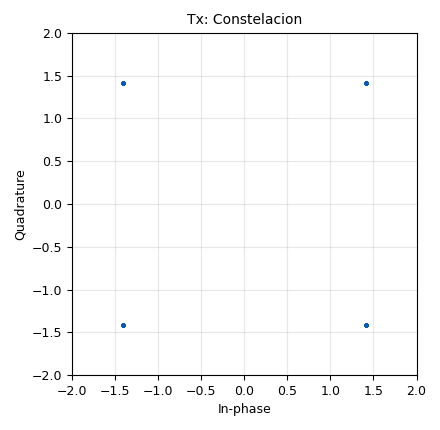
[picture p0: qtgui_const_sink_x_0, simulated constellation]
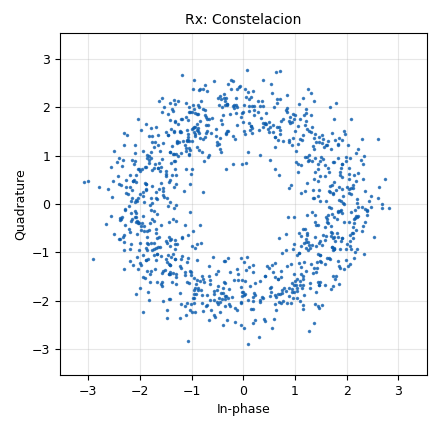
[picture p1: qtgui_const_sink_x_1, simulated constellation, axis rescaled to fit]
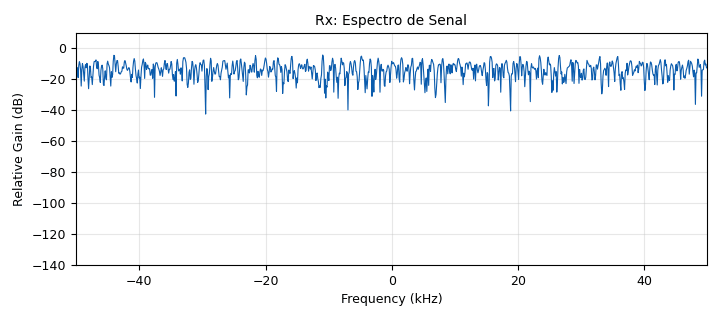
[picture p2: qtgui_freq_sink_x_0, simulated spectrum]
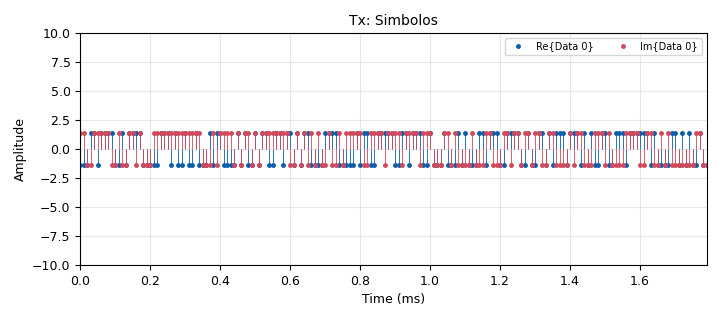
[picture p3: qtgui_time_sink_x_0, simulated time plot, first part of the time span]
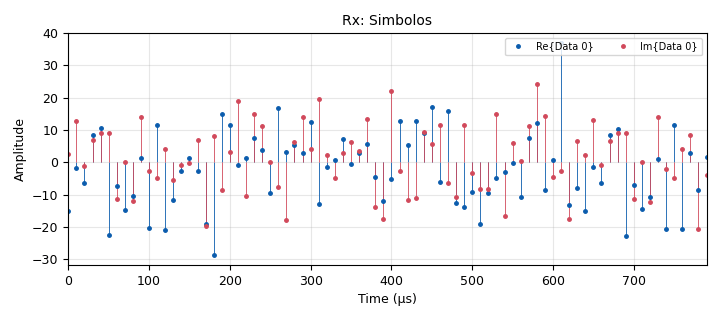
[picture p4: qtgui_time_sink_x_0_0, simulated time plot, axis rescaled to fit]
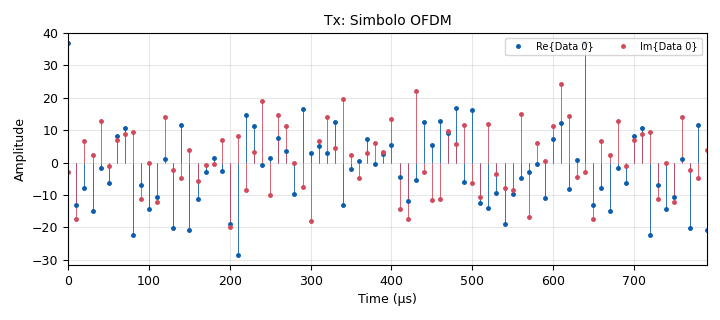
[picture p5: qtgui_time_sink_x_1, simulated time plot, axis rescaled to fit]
options:
  parameters:
    author: researcher
    generate_options: qt_gui
    id: ofdm_test1
    output_language: python
    title: Not titled yet
  states: {}

blocks:
- name: cp_len
  id: variable
  parameters:
    value: '16'
  states: {}
- name: delay_val
  id: variable_qtgui_range
  parameters:
    start: '0'
    step: '1'
    stop: '200'
    value: '50'
  states: {}
- name: fft_size
  id: variable
  parameters:
    value: '64'
  states: {}
- name: mod_const
  id: variable_constellation
  parameters:
    precision: '8'
    type: qpsk
  states: {}
- name: noise_amp
  id: variable_qtgui_range
  parameters:
    start: '0.0'
    step: '0.01'
    stop: '2.0'
    value: '0.2'
  states: {}
- name: samp_rate
  id: variable
  parameters:
    value: '100000'
  states: {}
- name: analog_random_uniform_source_x_0
  id: analog_random_uniform_source_x
  parameters:
    maximum: '2'
    minimum: '0'
    seed: '0'
    type: byte
  states: {}
- name: blocks_complex_to_mag_0
  id: blocks_complex_to_mag
  parameters:
    vlen: fft_size
  states: {}
- name: blocks_delay_0
  id: blocks_delay
  parameters:
    delay: delay_val
    type: byte
  states: {}
- name: blocks_keep_m_in_n_0
  id: blocks_keep_m_in_n
  parameters:
    m: fft_size
    n: fft_size+cp_len
    offset: cp_len
    type: complex
  states: {}
- name: blocks_multiply_const_vxx_0
  id: blocks_multiply_const_vxx
  parameters:
    const: 1/fft_size
    type: complex
  states: {}
- name: blocks_null_sink_0
  id: blocks_null_sink
  parameters:
    type: byte
  states: {}
- name: blocks_pack_k_bits_bb_0
  id: blocks_pack_k_bits_bb
  parameters:
    k: '2'
  states: {}
- name: blocks_stream_to_vector_0
  id: blocks_stream_to_vector
  parameters:
    num_items: fft_size
    type: complex
  states: {}
- name: blocks_stream_to_vector_1
  id: blocks_stream_to_vector
  parameters:
    num_items: fft_size
    type: complex
  states: {}
- name: blocks_throttle2_0
  id: blocks_throttle2
  parameters:
    samples_per_second: samp_rate
    type: byte
  states: {}
- name: blocks_unpack_k_bits_bb_0
  id: blocks_unpack_k_bits_bb
  parameters:
    k: '2'
  states: {}
- name: blocks_vector_to_stream_0
  id: blocks_vector_to_stream
  parameters:
    num_items: fft_size
    type: complex
  states: {}
- name: channels_channel_model_0
  id: channels_channel_model
  parameters:
    epsilon: '1.0'
    freq_offset: '0'
    noise_voltage: noise_amp
    seed: '0'
    taps: '[1.0+0j]'
  states: {}
- name: digital_chunks_to_symbols_xx_0
  id: digital_chunks_to_symbols_xx
  parameters:
    dimension: '1'
    in_type: byte
    out_type: complex
    symbol_table: mod_const.points()
  states: {}
- name: digital_constellation_decoder_cb_0
  id: digital_constellation_decoder_cb
  parameters:
    constellation: mod_const
  states: {}
- name: digital_ofdm_cyclic_prefixer_0
  id: digital_ofdm_cyclic_prefixer
  parameters:
    cp_len: cp_len
    input_size: fft_size
    tagname: '""'
  states: {}
- name: fec_ber_bf_0
  id: fec_ber_bf
  parameters:
    test_mode: 'False'
  states: {}
- name: fft_vxx_0
  id: fft_vxx
  parameters:
    fft_size: fft_size
    forward: 'False'
    shift: 'False'
    type: complex
    window: '[]'
  states: {}
- name: fft_vxx_1
  id: fft_vxx
  parameters:
    fft_size: fft_size
    forward: 'True'
    shift: 'False'
    type: complex
    window: '[]'
  states: {}
- name: import_0
  id: import
  parameters:
    imports: from gnuradio import digital
  states: {}
- name: qtgui_const_sink_x_0
  id: qtgui_const_sink_x
  parameters:
    gui_hint: tabs@0
    name: '"Tx: Constelacion"'
    size: '1024'
    type: complex
  states: {}
- name: qtgui_const_sink_x_1
  id: qtgui_const_sink_x
  parameters:
    gui_hint: tabs@5
    name: '"Rx: Constelacion"'
    size: '1024'
    type: complex
  states: {}
- name: qtgui_freq_sink_x_0
  id: qtgui_freq_sink_x
  parameters:
    bw: samp_rate
    ctrlpanel: 'True'
    fc: '0'
    fftsize: '1024'
    gui_hint: tabs@4
    name: '"Rx: Espectro de Senal"'
    type: complex
  states: {}
- name: qtgui_number_sink_0
  id: qtgui_number_sink
  parameters:
    graph_type: qtgui.NUM_GRAPH_HORIZ
    gui_hint: tabs@7
    name: '"BER GUI"'
    type: float
    update_time: '0.01'
  states: {}
- name: qtgui_time_sink_x_0
  id: qtgui_time_sink_x
  parameters:
    ctrlpanel: 'True'
    gui_hint: tabs@1
    name: '"Tx: Simbolos"'
    size: '1024'
    srate: samp_rate
    stemplot: 'True'
    type: complex
    width1: '0'
    ymax: '10'
    ymin: '-10'
  states: {}
- name: qtgui_time_sink_x_0_0
  id: qtgui_time_sink_x
  parameters:
    ctrlpanel: 'True'
    gui_hint: tabs@3
    name: '"Rx: Simbolos"'
    size: fft_size+cp_len
    srate: samp_rate
    stemplot: 'True'
    type: complex
    width1: '0'
    ymax: '10'
    ymin: '-10'
  states: {}
- name: qtgui_time_sink_x_1
  id: qtgui_time_sink_x
  parameters:
    ctrlpanel: 'True'
    entags: 'False'
    gui_hint: tabs@2
    name: '"Tx: Simbolo OFDM"'
    size: fft_size+cp_len
    srate: samp_rate
    stemplot: 'True'
    type: complex
    width1: '0'
    ymax: '10'
    ymin: '-10'
  states: {}
- name: qtgui_vector_sink_f_0
  id: qtgui_vector_sink_f
  parameters:
    gui_hint: tabs@6
    name: '"Subportadoras"'
    vlen: fft_size
    x_axis_label: '"Frecuencia (Hz)"'
    x_start: '0'
    x_step: samp_rate/fft_size
    y_axis_label: '"Magnitud"'
    ymax: '150'
    ymin: '0'
  states: {}
- name: tabs
  id: qtgui_tab_widget
  parameters:
    label0: Tx Const
    label1: Tx Simbolos
    label2: Tx OFDM
    label3: Rx Tiempo
    label4: Rx Espectro
    label5: Rx Const
    label6: Subportadoras
    label7: BER GUI
    num_tabs: '8'
  states: {}

connections:
- [analog_random_uniform_source_x_0, '0', blocks_throttle2_0, '0']
- [blocks_complex_to_mag_0, '0', qtgui_vector_sink_f_0, '0']
- [blocks_delay_0, '0', fec_ber_bf_0, '1']
- [blocks_keep_m_in_n_0, '0', blocks_stream_to_vector_1, '0']
- [blocks_multiply_const_vxx_0, '0', digital_constellation_decoder_cb_0, '0']
- [blocks_multiply_const_vxx_0, '0', qtgui_const_sink_x_1, '0']
- [blocks_pack_k_bits_bb_0, '0', blocks_delay_0, '0']
- [blocks_pack_k_bits_bb_0, '0', digital_chunks_to_symbols_xx_0, '0']
- [blocks_stream_to_vector_0, '0', fft_vxx_0, '0']
- [blocks_stream_to_vector_1, '0', fft_vxx_1, '0']
- [blocks_throttle2_0, '0', blocks_pack_k_bits_bb_0, '0']
- [blocks_unpack_k_bits_bb_0, '0', blocks_null_sink_0, '0']
- [blocks_unpack_k_bits_bb_0, '0', fec_ber_bf_0, '0']
- [blocks_vector_to_stream_0, '0', blocks_multiply_const_vxx_0, '0']
- [channels_channel_model_0, '0', blocks_keep_m_in_n_0, '0']
- [channels_channel_model_0, '0', qtgui_freq_sink_x_0, '0']
- [channels_channel_model_0, '0', qtgui_time_sink_x_0_0, '0']
- [digital_chunks_to_symbols_xx_0, '0', blocks_stream_to_vector_0, '0']
- [digital_chunks_to_symbols_xx_0, '0', qtgui_const_sink_x_0, '0']
- [digital_chunks_to_symbols_xx_0, '0', qtgui_time_sink_x_0, '0']
- [digital_constellation_decoder_cb_0, '0', blocks_unpack_k_bits_bb_0, '0']
- [digital_ofdm_cyclic_prefixer_0, '0', channels_channel_model_0, '0']
- [digital_ofdm_cyclic_prefixer_0, '0', qtgui_time_sink_x_1, '0']
- [fec_ber_bf_0, '0', qtgui_number_sink_0, '0']
- [fft_vxx_0, '0', digital_ofdm_cyclic_prefixer_0, '0']
- [fft_vxx_1, '0', blocks_complex_to_mag_0, '0']
- [fft_vxx_1, '0', blocks_vector_to_stream_0, '0']

metadata:
  file_format: 1
  grc_version: 3.10.7.0
